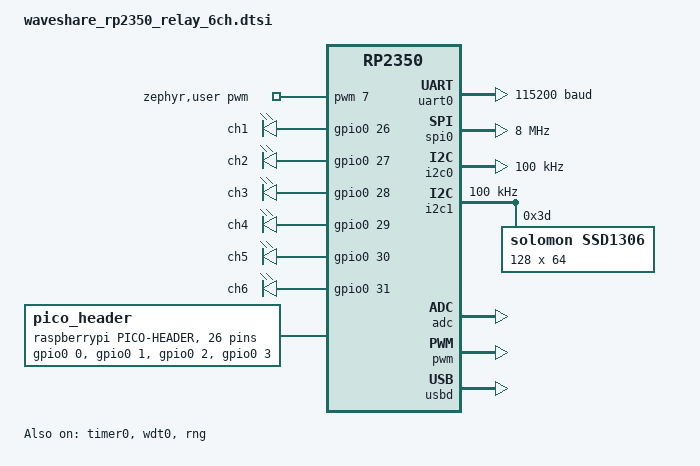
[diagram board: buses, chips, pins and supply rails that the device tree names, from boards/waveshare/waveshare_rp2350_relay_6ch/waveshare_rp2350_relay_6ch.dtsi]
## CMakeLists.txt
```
# SPDX-License-Identifier: Apache-2.0

cmake_minimum_required(VERSION 3.20.0)

list(APPEND BOARD_ROOT ${CMAKE_CURRENT_SOURCE_DIR})

find_package(Zephyr REQUIRED HINTS $ENV{ZEPHYR_BASE})
project(rp2350_relay_6ch VERSION 0.9.0)

find_package(Git QUIET)
set(RP2350_RELAY_6CH_GIT_COMMIT "unknown")
set(RP2350_RELAY_6CH_GIT_DIRTY false)
set(RP2350_RELAY_6CH_GIT_COMMIT_TIME "")
if(Git_FOUND)
  execute_process(
    COMMAND ${GIT_EXECUTABLE} rev-parse --short=12 HEAD
    WORKING_DIRECTORY ${CMAKE_CURRENT_SOURCE_DIR}
    OUTPUT_VARIABLE RP2350_RELAY_6CH_GIT_COMMIT
    OUTPUT_STRIP_TRAILING_WHITESPACE
    ERROR_QUIET
  )
  if(NOT RP2350_RELAY_6CH_GIT_COMMIT)
    set(RP2350_RELAY_6CH_GIT_COMMIT "unknown")
  endif()

  execute_process(
    COMMAND ${GIT_EXECUTABLE} status --porcelain
    WORKING_DIRECTORY ${CMAKE_CURRENT_SOURCE_DIR}
    OUTPUT_VARIABLE RP2350_RELAY_6CH_GIT_STATUS
    OUTPUT_STRIP_TRAILING_WHITESPACE
    ERROR_QUIET
  )
  if(RP2350_RELAY_6CH_GIT_STATUS)
    set(RP2350_RELAY_6CH_GIT_DIRTY true)
  endif()

  execute_process(
    COMMAND ${GIT_EXECUTABLE} show -s --format=%ct HEAD
    WORKING_DIRECTORY ${CMAKE_CURRENT_SOURCE_DIR}
    OUTPUT_VARIABLE RP2350_RELAY_6CH_GIT_COMMIT_TIME
    OUTPUT_STRIP_TRAILING_WHITESPACE
    ERROR_QUIET
  )
endif()

set(RP2350_RELAY_6CH_RESTORE_SOURCE_DATE_EPOCH false)
if(NOT DEFINED ENV{SOURCE_DATE_EPOCH} AND RP2350_RELAY_6CH_GIT_COMMIT_TIME)
  set(ENV{SOURCE_DATE_EPOCH} "${RP2350_RELAY_6CH_GIT_COMMIT_TIME}")
  set(RP2350_RELAY_6CH_RESTORE_SOURCE_DATE_EPOCH true)
endif()
set(RP2350_RELAY_6CH_RESTORE_TZ false)
if(DEFINED ENV{TZ})
  set(RP2350_RELAY_6CH_PREVIOUS_TZ "$ENV{TZ}")
  set(RP2350_RELAY_6CH_RESTORE_TZ true)
endif()
set(ENV{TZ} "Asia/Shanghai")
string(TIMESTAMP RP2350_RELAY_6CH_BUILD_TIMESTAMP "%Y-%m-%dT%H:%M:%S+08:00")
if(RP2350_RELAY_6CH_RESTORE_TZ)
  set(ENV{TZ} "${RP2350_RELAY_6CH_PREVIOUS_TZ}")
else()
  unset(ENV{TZ})
endif()
if(RP2350_RELAY_6CH_RESTORE_SOURCE_DATE_EPOCH)
  unset(ENV{SOURCE_DATE_EPOCH})
endif()
set(RP2350_RELAY_6CH_COMPILER
    "${CMAKE_C_COMPILER_ID} ${CMAKE_C_COMPILER_VERSION}")

configure_file(
  include/rp2350_relay_6ch/build_info.h.in
  ${CMAKE_CURRENT_BINARY_DIR}/generated/rp2350_relay_6ch/build_info.h
  @ONLY
)

target_include_directories(app PRIVATE
  include
  ${CMAKE_CURRENT_BINARY_DIR}/generated
)
target_sources(app PRIVATE src/main.c src/health.c src/relay.c src/relay_mgmt.c src/reboot.c src/indicator.c)
target_sources_ifdef(CONFIG_BOARD_WAVESHARE_RP2350_RELAY_6CH app PRIVATE src/waveshare_ws2812_pio.c)
target_sources_ifdef(CONFIG_RP2350_RELAY_6CH_WATCHDOG app PRIVATE src/watchdog_supervisor.c)
target_sources_ifdef(CONFIG_SHELL app PRIVATE src/relay_shell.c)
```

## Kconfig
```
# SPDX-License-Identifier: Apache-2.0

mainmenu "RP2350 Relay 6CH application"

config RP2350_RELAY_6CH_INDICATORS
	bool "Enable local RGB LED and buzzer status indicators"
	default y
	depends on LED_STRIP && PWM
	help
	  Enable controller-level local status indication using the board's
	  WS2812 RGB LED and passive PWM buzzer when those devices are present.

config RP2350_RELAY_6CH_BUZZER_FEEDBACK
	bool "Enable local bounded buzzer notifications"
	depends on RP2350_RELAY_6CH_INDICATORS
	default n
	help
	  Enable bounded audible notifications for boot-ready, rejected commands,
	  owner-lost faults, and reboot-pending transitions. Accepted commands,
	  normal heartbeat, idle-ready state, and routine relay toggles remain
	  silent by default.

config RP2350_RELAY_6CH_BUZZER_ACCEPTED_FEEDBACK
	bool "Enable accepted-command buzzer feedback"
	depends on RP2350_RELAY_6CH_BUZZER_FEEDBACK
	default n
	help
	  Enable one short beep for accepted commands. This is intended for
	  bench/debug configurations; normal lab and server-room builds should
	  leave accepted commands visual-only.

config RP2350_RELAY_6CH_DISPLAY
	bool "Enable optional OLED local status display"
	select DISPLAY if !ZTEST
	default n
	help
	  Enable the optional 128x64 SSD1306-compatible OLED local status
	  display when a zephyr,display device is present. Missing display
	  hardware is treated as an optional add-on absence, not a controller
	  fault.

config RP2350_RELAY_6CH_DISPLAY_ROTATED_180
	bool "Rotate the optional OLED local status display 180 degrees"
	depends on RP2350_RELAY_6CH_DISPLAY
	default n
	help
	  Rotate the optional OLED local status display 180 degrees for
	  installations where the OLED panel is mounted upside down.

config RP2350_RELAY_6CH_DISPLAY_REVERSED_RELAY_CELLS
	bool "Reverse optional OLED relay cell order"
	depends on RP2350_RELAY_6CH_DISPLAY
	default y if BOARD_WAVESHARE_RP2350_RELAY_6CH
	default n
	help
	  Render the optional OLED relay cells from CH6 to CH1 left-to-right.
	  This is useful for boards or enclosures whose physical relay labels
	  run in the opposite direction from the logical channel numbering.

config RP2350_RELAY_6CH_WATCHDOG
	bool "Enable runtime hardware watchdog supervisor"
	depends on WATCHDOG || ZTEST
	default y if WATCHDOG
	default y if ZTEST
	help
	  Enable a central runtime watchdog supervisor that starts after relay
	  GPIO and management RPC readiness, then feeds the hardware watchdog
	  only while fatal health gates remain clear.

config RP2350_RELAY_6CH_WATCHDOG_TIMEOUT_MS
	int "Runtime watchdog timeout in milliseconds"
	default 10000
	range 100 600000
	help
	  Hardware watchdog timeout used by the runtime supervisor.

config RP2350_RELAY_6CH_WATCHDOG_FEED_INTERVAL_MS
	int "Runtime watchdog feed interval in milliseconds"
	default 2000
	range 10 300000
	help
	  Period between supervisor feed checks. Keep this below the hardware
	  watchdog timeout with enough margin for normal firmware latency.

choice RP2350_RELAY_6CH_COMM_LOSS_POLICY
	prompt "Communication-loss relay safety policy"
	default RP2350_RELAY_6CH_COMM_LOSS_ENERGIZED_ONLY
	help
	  Select how firmware applies the communication-loss off-all timeout.

config RP2350_RELAY_6CH_COMM_LOSS_ENERGIZED_ONLY
	bool "Energized-only timeout"
	help
	  Arm or renew the timeout only while a relay is on or pulsing, and disarm
	  it when all relays are off.

config RP2350_RELAY_6CH_COMM_LOSS_NO_TIMEOUT
	bool "No communication-loss timeout"
	help
	  Leave relay state unchanged on host communication loss. Heartbeat remains
	  a liveness command only.

config RP2350_RELAY_6CH_COMM_LOSS_ALWAYS_ON_OWNER
	bool "Always-on owner timeout"
	help
	  Start the timeout at boot, renew it on heartbeat and relay-control
	  commands, and keep it armed even while all relays are off.

endchoice

config RP2350_RELAY_6CH_COMM_LOSS_TIMEOUT_MS
	int "Communication-loss timeout in milliseconds"
	default 5000
	range 1 600000
	help
	  Timeout used by communication-loss policies that force all relays off.
	  The standard product profile uses 5000 ms.

config RP2350_RELAY_6CH_COMM_LOSS_ALWAYS_ON_OWNER_REBOOT_ON_TIMEOUT
	bool "Reboot on always-on owner communication-loss timeout"
	depends on RP2350_RELAY_6CH_COMM_LOSS_ALWAYS_ON_OWNER && REBOOT
	default n
	help
	  After an always-on owner communication-loss timeout, force all relays
	  off, show reboot-pending local indication, and cold reboot the firmware
	  to recover the application and USB communication path.

config RP2350_RELAY_6CH_COMM_LOSS_REBOOT_DELAY_MS
	int "Always-on owner timeout reboot delay in milliseconds"
	default 60000
	range 0 600000
	help
	  Delay between an always-on owner communication-loss timeout all-off
	  safety action and the cold reboot used for unattended recovery.
	  Heartbeat or relay-control commands that restore ownership before this
	  delay expires cancel the pending reboot. This value is reported as 0
	  when reboot-on-timeout is disabled.

source "Kconfig.zephyr"
```

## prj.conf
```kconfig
# Relay GPIO, USB CDC ACM transport, and MCUmgr protocol configuration.
CONFIG_PRINTK=y
CONFIG_LOG=y
CONFIG_GPIO=y
CONFIG_PWM=y
CONFIG_LED_STRIP=y
CONFIG_RP2350_RELAY_6CH_DISPLAY=y
CONFIG_RP2350_RELAY_6CH_BUZZER_FEEDBACK=y
CONFIG_SERIAL=y
CONFIG_UART_LINE_CTRL=y
CONFIG_CONSOLE=y
CONFIG_UART_CONSOLE=y
CONFIG_SHELL=y
CONFIG_KERNEL_SHELL=y
CONFIG_SHELL_BACKEND_SERIAL=y
CONFIG_ZCBOR=y
CONFIG_NET_BUF=y
CONFIG_MCUMGR=y
CONFIG_MCUMGR_SMP_CBOR_MAX_MAIN_MAP_ENTRIES=28
CONFIG_MCUMGR_GRP_ENUM=y
CONFIG_MCUMGR_GRP_ENUM_DETAILS=y
CONFIG_MCUMGR_GRP_ENUM_DETAILS_NAME=y
CONFIG_USB_DEVICE_STACK_NEXT=y
CONFIG_CDC_ACM_SERIAL_INITIALIZE_AT_BOOT=y
# Standard Raspberry Pi Pico SDK CDC UART VID/PID for CDC ACM-only firmware.
# Application identity is provided by USB manufacturer, product, and serial strings.
CONFIG_CDC_ACM_SERIAL_VID=0x2E8A
CONFIG_CDC_ACM_SERIAL_PID=0x0009
CONFIG_CDC_ACM_SERIAL_MANUFACTURER_STRING="Waveshare Electronics"
CONFIG_CDC_ACM_SERIAL_PRODUCT_STRING="RP2350-Relay-6CH SMP CDC"
CONFIG_HWINFO=y
CONFIG_HWINFO_RPI_PICO_CHIP_ID=y
CONFIG_WATCHDOG=y
CONFIG_REBOOT=y
CONFIG_UART_MCUMGR=y
CONFIG_MCUMGR_TRANSPORT_UART=y
CONFIG_BASE64=y
CONFIG_CRC=y
```

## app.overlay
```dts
/ {
	chosen {
		zephyr,uart-mcumgr = &cdc_acm_uart0;
	};
};

&zephyr_udc0 {
	cdc_acm_uart0: cdc_acm_uart0 {
		compatible = "zephyr,cdc-acm-uart";
	};
};
```

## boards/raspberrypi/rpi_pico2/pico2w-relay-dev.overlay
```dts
/*
 * SPDX-License-Identifier: Apache-2.0
 *
 * Example Raspberry Pi Pico 2 / Pico 2 W DIY relay overlay.
 */

#include <freq.h>
#include <zephyr/dt-bindings/i2c/i2c.h>
#include <zephyr/dt-bindings/led/led.h>
#include <zephyr/dt-bindings/pinctrl/rpi-pico-rp2350a-pinctrl.h>
#include <zephyr/dt-bindings/pwm/pwm.h>

/ {
	chosen {
		zephyr,display = &ssd1306;
	};

	aliases {
		led-strip = &rgb_led;
	};

	zephyr,user {
		/* Passive buzzer fixture output: GP9 / PWM slice 4B. */
		pwms = <&pwm 9 PWM_USEC(1000) PWM_POLARITY_NORMAL>;
	};

	relays {
		compatible = "gpio-leds";

		ch1 {
			gpios = <&gpio0 2 GPIO_ACTIVE_HIGH>;
		};

		ch2 {
			gpios = <&gpio0 3 GPIO_ACTIVE_HIGH>;
		};

		ch3 {
			gpios = <&gpio0 4 GPIO_ACTIVE_HIGH>;
		};

		ch4 {
			gpios = <&gpio0 5 GPIO_ACTIVE_HIGH>;
		};

		ch5 {
			gpios = <&gpio0 6 GPIO_ACTIVE_HIGH>;
		};

		ch6 {
			gpios = <&gpio0 7 GPIO_ACTIVE_HIGH>;
		};
	};
};

&pinctrl {
	pwm_buzzer_default: pwm_buzzer_default {
		group1 {
			pinmux = <PWM_4B_P9>;
		};
	};

	ws2812_pio1_default: ws2812_pio1_default {
		group1 {
			pinmux = <PIO1_P8>;
		};
	};

	i2c1_display_default: i2c1_display_default {
		group1 {
			pinmux = <I2C1_SDA_P10>, <I2C1_SCL_P11>;
			input-enable;
			input-schmitt-enable;
		};
	};
};

&pwm {
	pinctrl-0 = <&pwm_buzzer_default>;
	pinctrl-names = "default";
	status = "okay";
};

&pio1 {
	status = "okay";

	pio1_ws2812 {
		compatible = "worldsemi,ws2812-rpi_pico-pio";
		pinctrl-0 = <&ws2812_pio1_default>;
		pinctrl-names = "default";
		bit-waveform = <3>, <3>, <4>;
		status = "okay";

		rgb_led: rgb_led {
			/* WS2812 RGB LED fixture data output: GP8 via PIO1. */
			gpios = <&gpio0 8 GPIO_ACTIVE_HIGH>;
			chain-length = <1>;
			color-mapping = <LED_COLOR_ID_GREEN LED_COLOR_ID_RED LED_COLOR_ID_BLUE>;
			reset-delay = <280>;
			frequency = <DT_FREQ_K(800)>;
			status = "okay";
		};
	};
};

&i2c1 {
	clock-frequency = <I2C_BITRATE_STANDARD>;
	pinctrl-0 = <&i2c1_display_default>;
	pinctrl-names = "default";
	status = "okay";

	ssd1306: ssd1306@3d {
		compatible = "solomon,ssd1306";
		reg = <0x3d>;
		width = <128>;
		height = <64>;
		segment-offset = <0>;
		page-offset = <0>;
		display-offset = <0>;
		multiplex-ratio = <63>;
		segment-remap;
		com-invdir;
		prechargep = <0x22>;
		softreset-on;
	};
};
```

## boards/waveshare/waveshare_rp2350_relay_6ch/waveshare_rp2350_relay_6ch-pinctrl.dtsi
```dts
/*
 * SPDX-License-Identifier: Apache-2.0
 */

#include <zephyr/dt-bindings/pinctrl/rpi-pico-rp2350b-pinctrl.h>

&pinctrl {
	uart0_default: uart0_default {
		group1 {
			pinmux = <UART0_TX_P0>;
		};

		group2 {
			pinmux = <UART0_RX_P1>;
			input-enable;
		};
	};

	uart1_default: uart1_default {
		group1 {
			pinmux = <UART1_TX_P24>;
		};

		group2 {
			pinmux = <UART1_RX_P25>;
			input-enable;
		};
	};

	i2c0_default: i2c0_default {
		group1 {
			pinmux = <I2C0_SDA_P4>, <I2C0_SCL_P5>;
			input-enable;
			input-schmitt-enable;
		};
	};

	i2c1_default: i2c1_default {
		group1 {
			pinmux = <I2C1_SDA_P10>, <I2C1_SCL_P11>;
			input-enable;
			input-schmitt-enable;
		};
	};

	spi0_default: spi0_default {
		group1 {
			pinmux = <SPI0_CSN_P17>, <SPI0_SCK_P18>, <SPI0_TX_P19>;
		};

		group2 {
			pinmux = <SPI0_RX_P16>;
			input-enable;
		};
	};

	pwm_buzzer_default: pwm_buzzer_default {
		group1 {
			pinmux = <PWM_3B_P23>;
		};
	};

	ws2812_pio1_default: ws2812_pio1_default {
		group1 {
			pinmux = <PIO1_P36>;
		};
	};

	adc_default: adc_default {
		group1 {
			pinmux = <ADC_CH0_P40>, <ADC_CH1_P41>, <ADC_CH2_P42>, <ADC_CH3_P43>,
				 <ADC_CH4_P44>, <ADC_CH5_P45>, <ADC_CH6_P46>, <ADC_CH7_P47>;
			input-enable;
		};
	};

	pio0_spi0_default: pio0_spi0_default {
		/* GPIO34 is used for chip select, not assigned to the PIO */
		group1 {
			pinmux = <PIO0_P35>;
		};
	};

	airoc_wifi_default: airoc_wifi_default {
		/* Control of GPIO33 is done through the Wi-Fi driver */
		group1 {
			pinmux = <PIO0_P33>;
			input-enable;
		};
	};

	airoc_wifi_host_wake: airoc_wifi_host_wake {
		/* Assign GPIO33 to SIO (GPIO) for use as an interrupt source */
		group1 {
			pinmux = <GPIO_P33>;
			input-enable;
		};
	};
};
```

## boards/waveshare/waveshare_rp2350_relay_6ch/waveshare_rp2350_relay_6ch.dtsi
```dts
/*
 * SPDX-License-Identifier: Apache-2.0
 *
 * This board definition follows Zephyr's Raspberry Pi Pico 2 W board as the
 * base reference, then changes the SoC include to RP2350B and maps the
 * Waveshare RP2350-Relay-6CH pin assignments.
 */

#include <freq.h>

#include <zephyr/dt-bindings/i2c/i2c.h>
#include <zephyr/dt-bindings/input/input-event-codes.h>
#include <zephyr/dt-bindings/led/led.h>
#include <zephyr/dt-bindings/pwm/pwm.h>

#include "waveshare_rp2350_relay_6ch-pinctrl.dtsi"

/ {
	chosen {
		zephyr,sram = &sram0;
		zephyr,flash = &flash0;
		zephyr,flash-controller = &qmi;
		zephyr,console = &uart0;
		zephyr,shell-uart = &uart0;
		zephyr,display = &ssd1306;
	};

	aliases {
		watchdog0 = &wdt0;
		led-strip = &rgb_led;
	};

	zephyr,user {
		pwms = <&pwm 7 PWM_USEC(1000) PWM_POLARITY_NORMAL>;
	};

	relays {
		compatible = "gpio-leds";

		ch1 {
			gpios = <&gpio0 26 GPIO_ACTIVE_HIGH>;
		};

		ch2 {
			gpios = <&gpio0 27 GPIO_ACTIVE_HIGH>;
		};

		ch3 {
			gpios = <&gpio0 28 GPIO_ACTIVE_HIGH>;
		};

		ch4 {
			gpios = <&gpio0 29 GPIO_ACTIVE_HIGH>;
		};

		ch5 {
			gpios = <&gpio0 30 GPIO_ACTIVE_HIGH>;
		};

		ch6 {
			gpios = <&gpio0 31 GPIO_ACTIVE_HIGH>;
		};
	};

	pico_header: connector {
		compatible = "raspberrypi,pico-header";
		#gpio-cells = <2>;
		gpio-map-mask = <0xffffffff 0xffffffc0>;
		gpio-map-pass-thru = <0 0x3f>;
		gpio-map = <0 0 &gpio0 0 0>,	/* GP0 */
			   <1 0 &gpio0 1 0>,	/* GP1 */
			   <2 0 &gpio0 2 0>,	/* GP2 */
			   <3 0 &gpio0 3 0>,	/* GP3 */
			   <4 0 &gpio0 4 0>,	/* GP4 */
			   <5 0 &gpio0 5 0>,	/* GP5 */
			   <6 0 &gpio0 6 0>,	/* GP6 */
			   <7 0 &gpio0 7 0>,	/* GP7 */
			   <8 0 &gpio0 8 0>,	/* GP8 */
			   <9 0 &gpio0 9 0>,	/* GP9 */
			   <10 0 &gpio0 10 0>,	/* GP10 */
			   <11 0 &gpio0 11 0>,	/* GP11 */
			   <12 0 &gpio0 12 0>,	/* GP12 */
			   <13 0 &gpio0 13 0>,	/* GP13 */
			   <14 0 &gpio0 14 0>,	/* GP14 */
			   <15 0 &gpio0 15 0>,	/* GP15 */
			   <16 0 &gpio0 16 0>,	/* GP16 */
			   <17 0 &gpio0 17 0>,	/* GP17 */
			   <18 0 &gpio0 18 0>,	/* GP18 */
			   <19 0 &gpio0 19 0>,	/* GP19 */
			   <20 0 &gpio0 20 0>,	/* GP20 */
			   <21 0 &gpio0 21 0>,	/* GP21 */
			   <22 0 &gpio0 22 0>,	/* GP22 */
			   <26 0 &gpio0_hi 8 0>,	/* GP40 / ADC0 */
			   <27 0 &gpio0_hi 9 0>,	/* GP41 / ADC1 */
			   <28 0 &gpio0_hi 10 0>;	/* GP42 / ADC2 */
	};
};

&flash0 {
	reg = <0x10000000 DT_SIZE_M(16)>;
};

&uart0 {
	current-speed = <115200>;
	pinctrl-0 = <&uart0_default>;
	pinctrl-names = "default";
	status = "okay";
};

&uart1 {
	current-speed = <115200>;
	pinctrl-0 = <&uart1_default>;
	pinctrl-names = "default";
	status = "disabled";
};

gpio0_lo: &gpio0 {
	status = "okay";
};

/*
 * gpio1 is a board-local label for RP2350B's high GPIO bank. For gpio0_hi,
 * offset N maps to physical GPIO number GP(32 + N).
 */
gpio1: &gpio0_hi {
	status = "okay";
};

&spi0 {
	clock-frequency = <DT_FREQ_M(8)>;
	pinctrl-0 = <&spi0_default>;
	pinctrl-names = "default";
};

&i2c0 {
	clock-frequency = <I2C_BITRATE_STANDARD>;
	pinctrl-0 = <&i2c0_default>;
	pinctrl-names = "default";
	status = "okay";
};

&i2c1 {
	clock-frequency = <I2C_BITRATE_STANDARD>;
	pinctrl-0 = <&i2c1_default>;
	pinctrl-names = "default";
	status = "okay";

	ssd1306: ssd1306@3d {
		compatible = "solomon,ssd1306";
		reg = <0x3d>;
		width = <128>;
		height = <64>;
		segment-offset = <0>;
		page-offset = <0>;
		display-offset = <0>;
		multiplex-ratio = <63>;
		segment-remap;
		com-invdir;
		prechargep = <0x22>;
		softreset-on;
	};
};

&adc {
	pinctrl-0 = <&adc_default>;
	pinctrl-names = "default";
	status = "okay";
};

&pwm {
	pinctrl-0 = <&pwm_buzzer_default>;
	pinctrl-names = "default";
	status = "okay";
};

&pio1 {
	status = "okay";

	pio1_ws2812 {
		compatible = "rp2350-relay-6ch,waveshare-ws2812-pio";
		pinctrl-0 = <&ws2812_pio1_default>;
		pinctrl-names = "default";
		bit-waveform = <3>, <3>, <4>;
		status = "okay";

		rgb_led: rgb_led {
			/* RGB_CTRL: GP36, gpio0_hi offset 4. */
			gpios = <&gpio0_hi 4 GPIO_ACTIVE_HIGH>;
			chain-length = <1>;
			color-mapping = <LED_COLOR_ID_RED LED_COLOR_ID_GREEN LED_COLOR_ID_BLUE>;
			reset-delay = <280>;
			frequency = <DT_FREQ_K(800)>;
			status = "okay";
		};
	};
};

&timer0 {
	status = "okay";
};

&wdt0 {
	status = "okay";
};

&rng {
	status = "okay";
};

zephyr_udc0: &usbd {
	status = "okay";
};

pico_spi: &spi0 {};

pico_spi0: &spi0 {};

pico_i2c: &i2c0 {};

pico_i2c0: &i2c0 {};

pico_i2c1: &i2c1 {};

pico_serial: &uart0 {};

pico_serial0: &uart0 {};
```

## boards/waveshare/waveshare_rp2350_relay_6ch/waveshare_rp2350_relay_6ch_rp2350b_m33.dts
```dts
/*
 * SPDX-License-Identifier: Apache-2.0
 */

/dts-v1/;

#include <raspberrypi/rpi_pico/rp2350b.dtsi>
#include <raspberrypi/rpi_pico/m33.dtsi>
#include "waveshare_rp2350_relay_6ch.dtsi"
```

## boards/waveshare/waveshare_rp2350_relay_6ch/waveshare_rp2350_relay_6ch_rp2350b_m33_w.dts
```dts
/*
 * SPDX-License-Identifier: Apache-2.0
 */

/dts-v1/;

#include <raspberrypi/rpi_pico/rp2350b.dtsi>
#include <raspberrypi/rpi_pico/m33.dtsi>
#include "waveshare_rp2350_relay_6ch.dtsi"

&pio0 {
	status = "okay";

	pio0_spi0: pio0_spi0 {
		compatible = "raspberrypi,pico-spi-pio";
		clocks = <&clocks RPI_PICO_CLKID_CLK_SYS>;
		#address-cells = <1>;
		#size-cells = <0>;
		cs-gpios = <&gpio0_hi 2 GPIO_ACTIVE_LOW>;	/* GP34 */
		clk-gpios = <&gpio0_hi 3 GPIO_ACTIVE_HIGH>;	/* GP35 */
		sio-gpios = <&gpio0_hi 1 GPIO_ACTIVE_HIGH>;	/* GP33 */
		pinctrl-0 = <&pio0_spi0_default>;
		pinctrl-names = "default";
		status = "okay";

		airoc-wifi@0 {
			compatible = "infineon,airoc-wifi";
			reg = <0>;
			wifi-reg-on-gpios = <&gpio0_hi 0 GPIO_ACTIVE_HIGH>;	/* GP32 */
			bus-select-gpios = <&gpio0_hi 1 GPIO_ACTIVE_HIGH>;	/* GP33 */
			wifi-host-wake-gpios = <&gpio0_hi 1 GPIO_ACTIVE_HIGH>;	/* GP33 */
			spi-max-frequency = <10000000>;
			spi-half-duplex;
			spi-data-irq-shared;
			pinctrl-0 = <&airoc_wifi_default>;
			pinctrl-1 = <&airoc_wifi_host_wake>;
			pinctrl-names = "default", "host_wake";
			status = "okay";

			cyw43_gpio: gpio {
				compatible = "infineon,cyw43-gpio";
				gpio-controller;
				#gpio-cells = <2>;
				ngpios = <3>;
			};
		};
	};
};
```

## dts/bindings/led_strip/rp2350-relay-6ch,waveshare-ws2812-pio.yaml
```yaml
# SPDX-License-Identifier: Apache-2.0

description: Waveshare RP2350-Relay-6CH WS2812 LED on RP2350B PIO1 GP36

compatible: "rp2350-relay-6ch,waveshare-ws2812-pio"

include: pinctrl-device.yaml

properties:
  bit-waveform:
    type: array
    required: true
    description: WS2812 PIO waveform timing counts for T0, T1, and T2.

child-binding:
  description: Waveshare onboard WS2812 RGB LED

  include: ws2812-gpio.yaml

  properties:
    gpios:
      required: true

    frequency:
      type: int
      required: true
```

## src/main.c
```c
/*
 * SPDX-License-Identifier: Apache-2.0
 */

#include <zephyr/kernel.h>
#include <zephyr/logging/log.h>
#include <zephyr/sys/reboot.h>

#include <rp2350_relay_6ch/health.h>
#include <rp2350_relay_6ch/indicator.h>
#include <rp2350_relay_6ch/relay.h>
#include <rp2350_relay_6ch/relay_mgmt.h>
#ifdef CONFIG_RP2350_RELAY_6CH_WATCHDOG
#include <rp2350_relay_6ch/watchdog_supervisor.h>
#endif

LOG_MODULE_REGISTER(rp2350_relay_6ch, LOG_LEVEL_INF);

#define STARTUP_REBOOT_DELAY_MS 1000U

static void handle_relay_init_failure(int ret)
{
	LOG_ERR("Relay initialization failed: %d", ret);
	health_record_relay_gpio_init_failed();
	indicator_init();
	indicator_publish_health_snapshot();
	k_sleep(K_MSEC(STARTUP_REBOOT_DELAY_MS));

#ifdef CONFIG_REBOOT
	sys_reboot(SYS_REBOOT_COLD);
#endif

	for (;;) {
		k_sleep(K_FOREVER);
	}
}

int main(void)
{
	int ret;

	health_init();

	ret = relay_init();

	if (ret < 0) {
		handle_relay_init_failure(ret);
	}

	health_set_relay_gpio_ready(true);
	indicator_init();
	relay_mgmt_publish_health();
#ifdef CONFIG_RP2350_RELAY_6CH_WATCHDOG
	watchdog_supervisor_start();
#endif
	indicator_publish_health_snapshot();
	LOG_INF("RP2350 relay controller baseline started on %s", CONFIG_BOARD_TARGET);

	return 0;
}
```

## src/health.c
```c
/*
 * SPDX-License-Identifier: Apache-2.0
 */

#include <stdbool.h>
#include <stdint.h>
#include <string.h>

#include <zephyr/kernel.h>
#include <zephyr/sys/util.h>

#include <rp2350_relay_6ch/health.h>

struct health_model {
	struct k_mutex lock;
	bool initialized;
	bool relay_gpio_ready;
	bool rpc_ready;
	bool ready_seen;
	uint32_t reasons;
	struct health_snapshot snapshot;
};

static struct health_model model;

static enum health_reason primary_reason(uint32_t reasons)
{
	static const enum health_reason priority[] = {
		HEALTH_REASON_COMM_REBOOT_PENDING,
		HEALTH_REASON_HOST_REBOOT_PENDING,
		HEALTH_REASON_REBOOT_FAILED,
		HEALTH_REASON_RELAY_GPIO_INIT_FAILED,
		HEALTH_REASON_RELAY_IO_FAILED,
		HEALTH_REASON_WATCHDOG_SUPERVISOR_FAILED,
		HEALTH_REASON_COMM_OWNER_TIMEOUT,
		HEALTH_REASON_RPC_NOT_READY,
		HEALTH_REASON_INDICATOR_DEGRADED,
	};

	for (size_t i = 0U; i < ARRAY_SIZE(priority); i++) {
		if ((reasons & priority[i]) != 0U) {
			return priority[i];
		}
	}

	return HEALTH_REASON_NONE;
}

static enum health_state derive_state_locked(uint32_t reasons)
{
	if ((reasons & (HEALTH_REASON_COMM_REBOOT_PENDING |
			HEALTH_REASON_HOST_REBOOT_PENDING)) != 0U) {
		return HEALTH_RECOVERY_PENDING;
	}

	if ((reasons & (HEALTH_REASON_RELAY_GPIO_INIT_FAILED |
			HEALTH_REASON_RELAY_IO_FAILED |
			HEALTH_REASON_REBOOT_FAILED |
			HEALTH_REASON_WATCHDOG_SUPERVISOR_FAILED)) != 0U) {
		return HEALTH_FAULT;
	}

	if ((reasons & (HEALTH_REASON_COMM_OWNER_TIMEOUT |
			HEALTH_REASON_INDICATOR_DEGRADED)) != 0U) {
		return HEALTH_DEGRADED;
	}

	if ((reasons & HEALTH_REASON_RPC_NOT_READY) != 0U && model.ready_seen) {
		return HEALTH_DEGRADED;
	}

	if (!model.relay_gpio_ready || !model.rpc_ready) {
		return HEALTH_BOOTING;
	}

	if ((model.snapshot.relay_state_mask | model.snapshot.pulse_mask) != 0U) {
		return HEALTH_RELAY_ACTIVE;
	}

	return HEALTH_NORMAL;
}

static void recompute_locked(void)
{
	uint32_t reasons = model.reasons;
	enum health_state previous = model.snapshot.state;

	if (!model.rpc_ready) {
		reasons |= HEALTH_REASON_RPC_NOT_READY;
	} else {
		reasons &= (uint32_t)~HEALTH_REASON_RPC_NOT_READY;
	}

	if (model.relay_gpio_ready && model.rpc_ready) {
		model.ready_seen = true;
	}

	model.snapshot.reasons = reasons;
	model.snapshot.primary_reason = primary_reason(reasons);
	model.snapshot.state = derive_state_locked(reasons);

	if (model.snapshot.state != previous) {
		model.snapshot.transitions++;
	}
}

static void reset_locked(void)
{
	model.relay_gpio_ready = false;
	model.rpc_ready = false;
	model.ready_seen = false;
	model.reasons = 0U;
	memset(&model.snapshot, 0, sizeof(model.snapshot));
	model.snapshot.state = HEALTH_BOOTING;
	recompute_locked();
	model.snapshot.transitions = 0U;
}

void health_init(void)
{
	if (!model.initialized) {
		k_mutex_init(&model.lock);
		model.initialized = true;
	}

	k_mutex_lock(&model.lock, K_FOREVER);
	reset_locked();
	k_mutex_unlock(&model.lock);
}

static void ensure_initialized(void)
{
	if (!model.initialized) {
		health_init();
	}
}

void health_set_relay_gpio_ready(bool ready)
{
	ensure_initialized();
	k_mutex_lock(&model.lock, K_FOREVER);
	model.relay_gpio_ready = ready;
	recompute_locked();
	k_mutex_unlock(&model.lock);
}

void health_set_rpc_ready(bool ready)
{
	ensure_initialized();
	k_mutex_lock(&model.lock, K_FOREVER);
	model.rpc_ready = ready;
	recompute_locked();
	k_mutex_unlock(&model.lock);
}

void health_set_relay_state(uint8_t state_mask, uint8_t pulse_mask)
{
	ensure_initialized();
	k_mutex_lock(&model.lock, K_FOREVER);
	model.snapshot.relay_state_mask = state_mask;
	model.snapshot.pulse_mask = pulse_mask;
	recompute_locked();
	k_mutex_unlock(&model.lock);
}

void health_set_comm_owner_timed_out(bool timed_out)
{
	ensure_initialized();
	k_mutex_lock(&model.lock, K_FOREVER);
	if (timed_out) {
		model.reasons |= HEALTH_REASON_COMM_OWNER_TIMEOUT;
	} else {
		model.reasons &= (uint32_t)~HEALTH_REASON_COMM_OWNER_TIMEOUT;
	}
	recompute_locked();
	k_mutex_unlock(&model.lock);
}

void health_set_comm_reboot_pending(bool pending)
{
	ensure_initialized();
	k_mutex_lock(&model.lock, K_FOREVER);
	if (pending) {
		model.reasons |= HEALTH_REASON_COMM_REBOOT_PENDING;
	} else {
		model.reasons &= (uint32_t)~HEALTH_REASON_COMM_REBOOT_PENDING;
	}
	recompute_locked();
	k_mutex_unlock(&model.lock);
}

void health_set_host_reboot_pending(bool pending)
{
	ensure_initialized();
	k_mutex_lock(&model.lock, K_FOREVER);
	if (pending) {
		model.reasons |= HEALTH_REASON_HOST_REBOOT_PENDING;
	} else {
		model.reasons &= (uint32_t)~HEALTH_REASON_HOST_REBOOT_PENDING;
	}
	recompute_locked();
	k_mutex_unlock(&model.lock);
}

void health_set_indicator_degraded(bool degraded)
{
	ensure_initialized();
	k_mutex_lock(&model.lock, K_FOREVER);
	if (degraded) {
		model.reasons |= HEALTH_REASON_INDICATOR_DEGRADED;
	} else {
		model.reasons &= (uint32_t)~HEALTH_REASON_INDICATOR_DEGRADED;
	}
	recompute_locked();
	k_mutex_unlock(&model.lock);
}

void health_record_relay_gpio_init_failed(void)
{
	ensure_initialized();
	k_mutex_lock(&model.lock, K_FOREVER);
	model.reasons |= HEALTH_REASON_RELAY_GPIO_INIT_FAILED;
	recompute_locked();
	k_mutex_unlock(&model.lock);
}

void health_record_relay_io_error(void)
{
	ensure_initialized();
	k_mutex_lock(&model.lock, K_FOREVER);
	model.reasons |= HEALTH_REASON_RELAY_IO_FAILED;
	recompute_locked();
	k_mutex_unlock(&model.lock);
}

void health_record_reboot_failed(void)
{
	ensure_initialized();
	k_mutex_lock(&model.lock, K_FOREVER);
	model.reasons |= HEALTH_REASON_REBOOT_FAILED;
	model.reasons &= (uint32_t)~(HEALTH_REASON_HOST_REBOOT_PENDING |
				     HEALTH_REASON_COMM_REBOOT_PENDING);
	recompute_locked();
	k_mutex_unlock(&model.lock);
}

void health_record_watchdog_supervisor_failed(void)
{
	ensure_initialized();
	k_mutex_lock(&model.lock, K_FOREVER);
	model.reasons |= HEALTH_REASON_WATCHDOG_SUPERVISOR_FAILED;
	recompute_locked();
	k_mutex_unlock(&model.lock);
}

void health_snapshot(struct health_snapshot *snapshot)
{
	if (snapshot == NULL) {
		return;
	}

	ensure_initialized();
	k_mutex_lock(&model.lock, K_FOREVER);
	*snapshot = model.snapshot;
	k_mutex_unlock(&model.lock);
}

const char *health_state_name(enum health_state state)
{
	switch (state) {
	case HEALTH_BOOTING:
		return "booting";
	case HEALTH_NORMAL:
		return "normal";
	case HEALTH_RELAY_ACTIVE:
		return "relay_active";
	case HEALTH_DEGRADED:
		return "degraded";
	case HEALTH_FAULT:
		return "fault";
	case HEALTH_RECOVERY_PENDING:
		return "recovery_pending";
	default:
		return "unknown";
	}
}

const char *health_reason_name(enum health_reason reason)
{
	switch (reason) {
	case HEALTH_REASON_NONE:
		return "none";
	case HEALTH_REASON_RELAY_GPIO_INIT_FAILED:
		return "relay_gpio_init_failed";
	case HEALTH_REASON_RELAY_IO_FAILED:
		return "relay_io_failed";
	case HEALTH_REASON_RPC_NOT_READY:
		return "rpc_not_ready";
	case HEALTH_REASON_COMM_OWNER_TIMEOUT:
		return "comm_owner_timeout";
	case HEALTH_REASON_COMM_REBOOT_PENDING:
		return "comm_reboot_pending";
	case HEALTH_REASON_INDICATOR_DEGRADED:
		return "indicator_degraded";
	case HEALTH_REASON_HOST_REBOOT_PENDING:
		return "host_reboot_pending";
	case HEALTH_REASON_REBOOT_FAILED:
		return "reboot_failed";
	case HEALTH_REASON_WATCHDOG_SUPERVISOR_FAILED:
		return "watchdog_supervisor_failed";
	default:
		return "unknown";
	}
}

#ifdef CONFIG_ZTEST
void health_test_reset(void)
{
	health_init();
}
#endif
```

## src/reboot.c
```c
/*
 * SPDX-License-Identifier: Apache-2.0
 */

#include <errno.h>

#include <zephyr/device.h>
#include <zephyr/devicetree.h>
#include <zephyr/kernel.h>
#include <zephyr/logging/log.h>
#include <zephyr/sys/util.h>

#ifdef CONFIG_USB_DEVICE_STACK_NEXT
#include <zephyr/drivers/usb/udc.h>
#endif

#if defined(CONFIG_SOC_FAMILY_RPI_PICO) && __has_include(<pico/bootrom.h>)
#include <pico/bootrom.h>
#define REBOOT_BOOTSEL_AVAILABLE 1
#else
#define REBOOT_BOOTSEL_AVAILABLE 0
#endif

#include <rp2350_relay_6ch/reboot.h>
#ifdef CONFIG_ZTEST
#include <rp2350_relay_6ch_test/reboot.h>
#endif

LOG_MODULE_REGISTER(rp2350_reboot, LOG_LEVEL_INF);

#define REBOOT_USB_DISCONNECT_SETTLE_MS 100

#if defined(CONFIG_USB_DEVICE_STACK_NEXT) && \
	DT_NODE_HAS_STATUS(DT_NODELABEL(zephyr_udc0), okay)
#define REBOOT_USB_DISCONNECT_AVAILABLE 1
#else
#define REBOOT_USB_DISCONNECT_AVAILABLE 0
#endif

#ifdef CONFIG_ZTEST
static int test_usb_disconnect_result;
static unsigned int test_reboot_sequence;
static unsigned int test_usb_disconnect_attempts;
static unsigned int test_usb_disconnect_settles;
static unsigned int test_usb_disconnect_order;
static unsigned int test_reboot_order;
static unsigned int test_bootsel_order;
#endif

static int reboot_disconnect_usb(void)
{
#ifdef CONFIG_ZTEST
	test_usb_disconnect_attempts++;
	test_usb_disconnect_order = ++test_reboot_sequence;
	return test_usb_disconnect_result;
#elif REBOOT_USB_DISCONNECT_AVAILABLE
	const struct device *udc = DEVICE_DT_GET(DT_NODELABEL(zephyr_udc0));
	int ret;

	if (!device_is_ready(udc)) {
		LOG_WRN("USB device controller is not ready before reboot");
		return -ENODEV;
	}

	ret = udc_disable(udc);
	if (ret == 0 || ret == -EALREADY) {
		LOG_INF("USB device controller detached before reboot");
		return 0;
	}

	LOG_WRN("USB device controller detach failed before reboot: %d", ret);
	return ret;
#else
	LOG_DBG("USB device controller detach is not available before reboot");
	return -ENOTSUP;
#endif
}

void reboot_usb_disconnect_and_settle(void)
{
	(void)reboot_disconnect_usb();
#ifdef CONFIG_ZTEST
	test_usb_disconnect_settles++;
#else
	k_msleep(REBOOT_USB_DISCONNECT_SETTLE_MS);
#endif
}

void reboot_enter_bootsel(void)
{
#ifdef CONFIG_ZTEST
	reboot_test_record_bootsel();
#elif REBOOT_BOOTSEL_AVAILABLE
	reset_usb_boot(0, 0);
	CODE_UNREACHABLE;
#else
	LOG_WRN("RP2350 ROM BOOTSEL entry is not available on this target");
#endif
}

#ifdef CONFIG_ZTEST
void reboot_test_reset(void)
{
	test_usb_disconnect_result = 0;
	test_reboot_sequence = 0U;
	test_usb_disconnect_attempts = 0U;
	test_usb_disconnect_settles = 0U;
	test_usb_disconnect_order = 0U;
	test_reboot_order = 0U;
	test_bootsel_order = 0U;
}

void reboot_test_force_usb_disconnect_result(int result)
{
	test_usb_disconnect_result = result;
}

void reboot_test_record_reboot(void)
{
	test_reboot_order = ++test_reboot_sequence;
}

void reboot_test_record_bootsel(void)
{
	test_bootsel_order = ++test_reboot_sequence;
}

unsigned int reboot_test_next_sequence(void)
{
	return ++test_reboot_sequence;
}

unsigned int reboot_test_usb_disconnect_attempts(void)
{
	return test_usb_disconnect_attempts;
}

unsigned int reboot_test_usb_disconnect_settles(void)
{
	return test_usb_disconnect_settles;
}

unsigned int reboot_test_usb_disconnect_order(void)
{
	return test_usb_disconnect_order;
}

unsigned int reboot_test_reboot_order(void)
{
	return test_reboot_order;
}

unsigned int reboot_test_bootsel_order(void)
{
	return test_bootsel_order;
}
#endif
```

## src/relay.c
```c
/*
 * SPDX-License-Identifier: Apache-2.0
 */

#include <stdbool.h>
#include <stdint.h>

#include <zephyr/devicetree.h>
#include <zephyr/drivers/gpio.h>
#include <zephyr/kernel.h>
#include <zephyr/logging/log.h>
#include <zephyr/sys/reboot.h>
#include <zephyr/sys/util.h>

#include <rp2350_relay_6ch/health.h>
#include <rp2350_relay_6ch/indicator.h>
#include <rp2350_relay_6ch/relay.h>
#include <rp2350_relay_6ch/reboot.h>
#ifdef CONFIG_ZTEST
#include <rp2350_relay_6ch_test/reboot.h>
#endif

LOG_MODULE_REGISTER(rp2350_relay, LOG_LEVEL_INF);

#define RELAYS_NODE DT_PATH(relays)
#ifdef CONFIG_ZTEST
#define COMM_LOSS_REBOOT_PENDING_INDICATION_MS 40U
#else
#define COMM_LOSS_REBOOT_PENDING_INDICATION_MS 10000U
#endif

BUILD_ASSERT(DT_NODE_EXISTS(RELAYS_NODE), "Missing /relays devicetree node");
BUILD_ASSERT(DT_CHILD_NUM(RELAYS_NODE) == RP2350_RELAY_6CH_CHANNEL_COUNT,
	     "/relays must define exactly six relay channel child nodes");

static const struct gpio_dt_spec relays[] = {
	GPIO_DT_SPEC_GET(DT_CHILD(RELAYS_NODE, ch1), gpios),
	GPIO_DT_SPEC_GET(DT_CHILD(RELAYS_NODE, ch2), gpios),
	GPIO_DT_SPEC_GET(DT_CHILD(RELAYS_NODE, ch3), gpios),
	GPIO_DT_SPEC_GET(DT_CHILD(RELAYS_NODE, ch4), gpios),
	GPIO_DT_SPEC_GET(DT_CHILD(RELAYS_NODE, ch5), gpios),
	GPIO_DT_SPEC_GET(DT_CHILD(RELAYS_NODE, ch6), gpios),
};

static struct k_mutex relay_lock;
static uint8_t relay_state_mask;
static uint8_t relay_pulse_mask;
static bool comm_loss_armed;
static bool comm_loss_reboot_scheduled;
static bool comm_loss_reboot_pending_indication_scheduled;
#ifdef CONFIG_ZTEST
static int comm_loss_test_reboot_schedule_result = 1;
static bool comm_loss_test_reboot_return;
static int test_next_off_all_result;
#endif

struct relay_pulse_work {
	struct k_work_delayable work;
	uint8_t channel;
	uint32_t duration_ms;
};

static void pulse_expired(struct k_work *work);
static void comm_loss_expired(struct k_work *work);
static void comm_loss_reboot_pending_indication_expired(struct k_work *work);
static void comm_loss_reboot_expired(struct k_work *work);

static struct relay_pulse_work relay_pulses[] = {
	{ .channel = 0U },
	{ .channel = 1U },
	{ .channel = 2U },
	{ .channel = 3U },
	{ .channel = 4U },
	{ .channel = 5U },
};

static K_WORK_DELAYABLE_DEFINE(comm_loss_work, comm_loss_expired);
static K_WORK_DELAYABLE_DEFINE(comm_loss_reboot_pending_indication_work,
			       comm_loss_reboot_pending_indication_expired);
static K_WORK_DELAYABLE_DEFINE(comm_loss_reboot_work, comm_loss_reboot_expired);

static bool channel_valid(uint8_t channel)
{
	return channel < ARRAY_SIZE(relays);
}

static void publish_indicator_state(
	uint8_t state_mask, uint8_t pulse_mask,
	const struct indicator_pulse_timing pulse_timing[RP2350_RELAY_6CH_CHANNEL_COUNT])
{
	health_set_relay_state(state_mask, pulse_mask);
	indicator_publish_health_snapshot();

	if (pulse_timing == NULL) {
		return;
	}

	indicator_set_relay_timed_state(state_mask, pulse_mask, pulse_timing);
}

static void publish_health_snapshot(void)
{
	indicator_publish_health_snapshot();
}

static void snapshot_pulse_timing_locked(
	uint8_t pulse_mask,
	struct indicator_pulse_timing pulse_timing[RP2350_RELAY_6CH_CHANNEL_COUNT])
{
	for (size_t i = 0; i < ARRAY_SIZE(relay_pulses); i++) {
		if ((pulse_mask & BIT(i)) == 0U) {
			pulse_timing[i].duration_ms = 0U;
			pulse_timing[i].remaining_ms = 0U;
			continue;
		}

		pulse_timing[i].duration_ms = relay_pulses[i].duration_ms;
		pulse_timing[i].remaining_ms =
			k_ticks_to_ms_ceil32(
				k_work_delayable_remaining_get(&relay_pulses[i].work));
	}
}

static int apply_state_locked(uint8_t state_mask)
{
	for (size_t i = 0; i < ARRAY_SIZE(relays); i++) {
		const bool on = (state_mask & BIT(i)) != 0U;
		int ret = gpio_pin_set_dt(&relays[i], on ? 1 : 0);

		if (ret < 0) {
			LOG_ERR("Failed to set relay %u: %d", (unsigned int)i + 1U, ret);
			health_record_relay_io_error();
			return ret;
		}
	}

	relay_state_mask = state_mask & BIT_MASK(ARRAY_SIZE(relays));
	return 0;
}

static bool comm_loss_timeout_enabled(void)
{
	return !IS_ENABLED(CONFIG_RP2350_RELAY_6CH_COMM_LOSS_NO_TIMEOUT);
}

static bool comm_loss_should_arm_locked(void)
{
	if (!comm_loss_timeout_enabled()) {
		return false;
	}

	if (IS_ENABLED(CONFIG_RP2350_RELAY_6CH_COMM_LOSS_ALWAYS_ON_OWNER)) {
		return true;
	}

	return (relay_state_mask != 0U) || (relay_pulse_mask != 0U);
}

static void comm_loss_schedule_locked(void)
{
	if (!comm_loss_should_arm_locked()) {
		comm_loss_armed = false;
		(void)k_work_cancel_delayable(&comm_loss_work);
		return;
	}

	comm_loss_armed = true;
	(void)k_work_reschedule(
		&comm_loss_work, K_MSEC(CONFIG_RP2350_RELAY_6CH_COMM_LOSS_TIMEOUT_MS));
}

static void comm_loss_disarm_if_idle_locked(void)
{
	if (IS_ENABLED(CONFIG_RP2350_RELAY_6CH_COMM_LOSS_ENERGIZED_ONLY) &&
	    relay_state_mask == 0U && relay_pulse_mask == 0U) {
		comm_loss_armed = false;
		(void)k_work_cancel_delayable(&comm_loss_work);
	}
}

static bool comm_loss_cancel_reboot_locked(void)
{
	bool was_scheduled = comm_loss_reboot_scheduled;

	comm_loss_reboot_scheduled = false;
	comm_loss_reboot_pending_indication_scheduled = false;
	(void)k_work_cancel_delayable(&comm_loss_reboot_pending_indication_work);
	(void)k_work_cancel_delayable(&comm_loss_reboot_work);

	return was_scheduled;
}

static void comm_loss_schedule_reboot_pending_indication(void)
{
	uint32_t delay_ms = relay_comm_loss_reboot_delay_ms();

	if (delay_ms <= COMM_LOSS_REBOOT_PENDING_INDICATION_MS) {
		health_set_comm_reboot_pending(true);
		publish_health_snapshot();
		return;
	}

	(void)k_work_schedule(&comm_loss_reboot_pending_indication_work,
			      K_MSEC(delay_ms -
				     COMM_LOSS_REBOOT_PENDING_INDICATION_MS));
}

static void cancel_pulses_locked(uint8_t pulse_mask)
{
	for (size_t i = 0; i < ARRAY_SIZE(relay_pulses); i++) {
		if ((pulse_mask & BIT(i)) != 0U) {
			(void)k_work_cancel_delayable(&relay_pulses[i].work);
			relay_pulses[i].duration_ms = 0U;
		}
	}

	relay_pulse_mask &= (uint8_t)~pulse_mask;
}

static int set_channel_locked(uint8_t channel, bool on)
{
	int ret;
	uint8_t next_state = relay_state_mask;

	if (on) {
		next_state |= BIT(channel);
	} else {
		next_state &= (uint8_t)~BIT(channel);
	}

	ret = gpio_pin_set_dt(&relays[channel], on ? 1 : 0);
	if (ret == 0) {
		relay_state_mask = next_state;
	} else {
		LOG_ERR("Failed to set relay %u: %d", (unsigned int)channel + 1U, ret);
		health_record_relay_io_error();
	}

	return ret;
}

static void pulse_expired(struct k_work *work)
{
	struct k_work_delayable *dwork = k_work_delayable_from_work(work);
	struct relay_pulse_work *pulse =
		CONTAINER_OF(dwork, struct relay_pulse_work, work);
	uint8_t state_mask = 0U;
	uint8_t pulse_mask = 0U;
	struct indicator_pulse_timing pulse_timing[RP2350_RELAY_6CH_CHANNEL_COUNT];
	bool publish = false;
	int ret;

	k_mutex_lock(&relay_lock, K_FOREVER);
	if ((relay_pulse_mask & BIT(pulse->channel)) == 0U) {
		k_mutex_unlock(&relay_lock);
		return;
	}

	relay_pulse_mask &= (uint8_t)~BIT(pulse->channel);
	pulse->duration_ms = 0U;
	ret = set_channel_locked(pulse->channel, false);
	if (ret == 0) {
		state_mask = relay_state_mask;
		pulse_mask = relay_pulse_mask;
		snapshot_pulse_timing_locked(pulse_mask, pulse_timing);
		comm_loss_disarm_if_idle_locked();
		publish = true;
	}
	k_mutex_unlock(&relay_lock);

	if (publish) {
		publish_indicator_state(state_mask, pulse_mask, pulse_timing);
	}

	if (ret < 0) {
		LOG_ERR("Failed to end relay %u pulse: %d",
			(unsigned int)pulse->channel + 1U, ret);
	}
}

static void comm_loss_expired(struct k_work *work)
{
	uint8_t state_mask = 0U;
	uint8_t pulse_mask = 0U;
	struct indicator_pulse_timing pulse_timing[RP2350_RELAY_6CH_CHANNEL_COUNT];
	bool publish = false;
	bool schedule_reboot = false;
	int ret = 0;

	ARG_UNUSED(work);

	k_mutex_lock(&relay_lock, K_FOREVER);
	if (!comm_loss_armed) {
		k_mutex_unlock(&relay_lock);
		return;
	}

	cancel_pulses_locked(BIT_MASK(ARRAY_SIZE(relay_pulses)));
	ret = apply_state_locked(0U);
	if (ret == 0) {
		state_mask = relay_state_mask;
		pulse_mask = relay_pulse_mask;
		snapshot_pulse_timing_locked(pulse_mask, pulse_timing);
		health_set_comm_owner_timed_out(true);
		if (IS_ENABLED(CONFIG_RP2350_RELAY_6CH_COMM_LOSS_ALWAYS_ON_OWNER)) {
			if (relay_comm_loss_reboot_on_timeout()) {
				comm_loss_armed = false;
				comm_loss_reboot_scheduled = true;
				comm_loss_reboot_pending_indication_scheduled = true;
				schedule_reboot = true;
			} else {
				comm_loss_schedule_locked();
			}
		} else {
			comm_loss_armed = false;
		}
		publish = true;
	}
	k_mutex_unlock(&relay_lock);

	if (publish) {
		publish_indicator_state(state_mask, pulse_mask, pulse_timing);
	}

	if (schedule_reboot) {
		int schedule_ret;

#ifdef CONFIG_ZTEST
		schedule_ret = comm_loss_test_reboot_schedule_result;
		comm_loss_test_reboot_schedule_result = 1;
		if (schedule_ret >= 0) {
			schedule_ret = k_work_schedule(
				&comm_loss_reboot_work,
				K_MSEC(CONFIG_RP2350_RELAY_6CH_COMM_LOSS_REBOOT_DELAY_MS));
		}
#else
		schedule_ret = k_work_schedule(
			&comm_loss_reboot_work,
			K_MSEC(CONFIG_RP2350_RELAY_6CH_COMM_LOSS_REBOOT_DELAY_MS));
#endif
		if (schedule_ret < 0) {
			k_mutex_lock(&relay_lock, K_FOREVER);
			comm_loss_reboot_scheduled = false;
			comm_loss_reboot_pending_indication_scheduled = false;
			(void)k_work_cancel_delayable(
				&comm_loss_reboot_pending_indication_work);
			health_record_reboot_failed();
			k_mutex_unlock(&relay_lock);
			publish_health_snapshot();
		} else {
			comm_loss_schedule_reboot_pending_indication();
		}
	}

	if (ret < 0) {
		LOG_ERR("Communication-loss off-all failed: %d", ret);
	}
}

static void comm_loss_reboot_pending_indication_expired(struct k_work *work)
{
	bool publish = false;

	ARG_UNUSED(work);

	k_mutex_lock(&relay_lock, K_FOREVER);
	if (!comm_loss_reboot_pending_indication_scheduled ||
	    !comm_loss_reboot_scheduled) {
		k_mutex_unlock(&relay_lock);
		return;
	}

	comm_loss_reboot_pending_indication_scheduled = false;
	health_set_comm_reboot_pending(true);
	publish = true;
	k_mutex_unlock(&relay_lock);

	if (publish) {
		publish_health_snapshot();
	}
}

static void comm_loss_reboot_expired(struct k_work *work)
{
	ARG_UNUSED(work);

#ifdef CONFIG_ZTEST
	reboot_usb_disconnect_and_settle();
	if (!comm_loss_test_reboot_return) {
		return;
	}
	reboot_test_record_reboot();
#elif defined(CONFIG_REBOOT)
	reboot_usb_disconnect_and_settle();
	sys_reboot(SYS_REBOOT_COLD);
#else
	return;
#endif
	health_record_reboot_failed();
	publish_health_snapshot();
}

int relay_init(void)
{
	k_mutex_init(&relay_lock);

	for (size_t i = 0; i < ARRAY_SIZE(relay_pulses); i++) {
		k_work_init_delayable(&relay_pulses[i].work, pulse_expired);
	}

	for (size_t i = 0; i < ARRAY_SIZE(relays); i++) {
		int ret;

		if (!gpio_is_ready_dt(&relays[i])) {
			LOG_ERR("Relay %u GPIO device is not ready", (unsigned int)i + 1U);
			health_record_relay_gpio_init_failed();
			return -ENODEV;
		}

		ret = gpio_pin_configure_dt(&relays[i], GPIO_OUTPUT_INACTIVE);
		if (ret < 0) {
			LOG_ERR("Failed to configure relay %u GPIO: %d",
				(unsigned int)i + 1U, ret);
			health_record_relay_gpio_init_failed();
			return ret;
		}
	}

	relay_state_mask = 0U;
	relay_pulse_mask = 0U;
	comm_loss_armed = false;
	comm_loss_reboot_scheduled = false;
	comm_loss_reboot_pending_indication_scheduled = false;
	(void)k_work_cancel_delayable(&comm_loss_work);
	(void)k_work_cancel_delayable(&comm_loss_reboot_pending_indication_work);
	(void)k_work_cancel_delayable(&comm_loss_reboot_work);
	health_set_comm_owner_timed_out(false);
	health_set_comm_reboot_pending(false);
	if (IS_ENABLED(CONFIG_RP2350_RELAY_6CH_COMM_LOSS_ALWAYS_ON_OWNER)) {
		k_mutex_lock(&relay_lock, K_FOREVER);
		comm_loss_schedule_locked();
		k_mutex_unlock(&relay_lock);
	}
	publish_indicator_state(relay_state_mask, relay_pulse_mask, NULL);
	LOG_INF("Initialized %u relays off", (unsigned int)ARRAY_SIZE(relays));

	return 0;
}

int relay_count(void)
{
	return ARRAY_SIZE(relays);
}

int relay_get(uint8_t channel, bool *on)
{
	if (on == NULL) {
		return -EINVAL;
	}

	if (!channel_valid(channel)) {
		return -EINVAL;
	}

	k_mutex_lock(&relay_lock, K_FOREVER);
	*on = (relay_state_mask & BIT(channel)) != 0U;
	k_mutex_unlock(&relay_lock);

	return 0;
}

int relay_get_all(uint8_t *state_mask)
{
	if (state_mask == NULL) {
		return -EINVAL;
	}

	k_mutex_lock(&relay_lock, K_FOREVER);
	*state_mask = relay_state_mask;
	k_mutex_unlock(&relay_lock);

	return 0;
}

int relay_is_pulsing(uint8_t channel, bool *pulsing)
{
	if (pulsing == NULL) {
		return -EINVAL;
	}

	if (!channel_valid(channel)) {
		return -EINVAL;
	}

	k_mutex_lock(&relay_lock, K_FOREVER);
	*pulsing = (relay_pulse_mask & BIT(channel)) != 0U;
	k_mutex_unlock(&relay_lock);

	return 0;
}

int relay_set(uint8_t channel, bool on)
{
	uint8_t state_mask = 0U;
	uint8_t pulse_mask = 0U;
	struct indicator_pulse_timing pulse_timing[RP2350_RELAY_6CH_CHANNEL_COUNT];
	bool reboot_canceled = false;
	int ret;

	if (!channel_valid(channel)) {
		return -EINVAL;
	}

	k_mutex_lock(&relay_lock, K_FOREVER);
	cancel_pulses_locked(BIT(channel));
	ret = set_channel_locked(channel, on);
	if (ret == 0) {
		state_mask = relay_state_mask;
		pulse_mask = relay_pulse_mask;
		snapshot_pulse_timing_locked(pulse_mask, pulse_timing);
		reboot_canceled = comm_loss_cancel_reboot_locked();
		health_set_comm_owner_timed_out(false);
		if (reboot_canceled) {
			health_set_comm_reboot_pending(false);
		}
		comm_loss_schedule_locked();
	}
	k_mutex_unlock(&relay_lock);

	if (ret == 0) {
		publish_indicator_state(state_mask, pulse_mask, pulse_timing);
	}

	return ret;
}

int relay_set_all(uint8_t state_mask)
{
	uint8_t next_state_mask = 0U;
	uint8_t pulse_mask = 0U;
	struct indicator_pulse_timing pulse_timing[RP2350_RELAY_6CH_CHANNEL_COUNT];
	bool reboot_canceled = false;
	int ret;

	if ((state_mask & ~BIT_MASK(ARRAY_SIZE(relays))) != 0U) {
		return -EINVAL;
	}

	k_mutex_lock(&relay_lock, K_FOREVER);
	cancel_pulses_locked(BIT_MASK(ARRAY_SIZE(relays)));
	ret = apply_state_locked(state_mask);
	if (ret == 0) {
		next_state_mask = relay_state_mask;
		pulse_mask = relay_pulse_mask;
		snapshot_pulse_timing_locked(pulse_mask, pulse_timing);
		reboot_canceled = comm_loss_cancel_reboot_locked();
		health_set_comm_owner_timed_out(false);
		if (reboot_canceled) {
			health_set_comm_reboot_pending(false);
		}
		comm_loss_schedule_locked();
	}
	k_mutex_unlock(&relay_lock);

	if (ret == 0) {
		publish_indicator_state(next_state_mask, pulse_mask, pulse_timing);
	}

	return ret;
}

int relay_off_all(void)
{
#ifdef CONFIG_ZTEST
	if (test_next_off_all_result < 0) {
		int ret = test_next_off_all_result;

		test_next_off_all_result = 0;
		health_record_relay_io_error();
		return ret;
	}
#endif
	return relay_set_all(0U);
}

int relay_pulse(uint8_t channel, uint32_t duration_ms)
{
	uint8_t state_mask = 0U;
	uint8_t pulse_mask = 0U;
	struct indicator_pulse_timing pulse_timing[RP2350_RELAY_6CH_CHANNEL_COUNT];
	bool reboot_canceled = false;
	int ret;

	if (!channel_valid(channel)) {
		return -EINVAL;
	}

	if (duration_ms < RP2350_RELAY_6CH_PULSE_MIN_MS ||
	    duration_ms > RP2350_RELAY_6CH_PULSE_MAX_MS) {
		return -EINVAL;
	}

	k_mutex_lock(&relay_lock, K_FOREVER);
	if ((relay_pulse_mask & BIT(channel)) != 0U) {
		k_mutex_unlock(&relay_lock);
		return -EBUSY;
	}

	ret = set_channel_locked(channel, true);
	if (ret == 0) {
		relay_pulse_mask |= BIT(channel);
		relay_pulses[channel].duration_ms = duration_ms;
		ret = k_work_schedule(&relay_pulses[channel].work, K_MSEC(duration_ms));
		if (ret < 0) {
			relay_pulse_mask &= (uint8_t)~BIT(channel);
			relay_pulses[channel].duration_ms = 0U;
			(void)set_channel_locked(channel, false);
		} else {
			state_mask = relay_state_mask;
			pulse_mask = relay_pulse_mask;
			snapshot_pulse_timing_locked(pulse_mask, pulse_timing);
			reboot_canceled = comm_loss_cancel_reboot_locked();
			health_set_comm_owner_timed_out(false);
			if (reboot_canceled) {
				health_set_comm_reboot_pending(false);
			}
			comm_loss_schedule_locked();
		}
	}
	k_mutex_unlock(&relay_lock);

	if (ret >= 0) {
		publish_indicator_state(state_mask, pulse_mask, pulse_timing);
	}

	return ret < 0 ? ret : 0;
}

void relay_comm_loss_renew(void)
{
	bool reboot_canceled;

	k_mutex_lock(&relay_lock, K_FOREVER);
	reboot_canceled = comm_loss_cancel_reboot_locked();
	health_set_comm_owner_timed_out(false);
	if (reboot_canceled) {
		health_set_comm_reboot_pending(false);
	}
	comm_loss_schedule_locked();
	k_mutex_unlock(&relay_lock);
	publish_health_snapshot();
}

const char *relay_comm_loss_policy(void)
{
	if (IS_ENABLED(CONFIG_RP2350_RELAY_6CH_COMM_LOSS_NO_TIMEOUT)) {
		return "no-comm-timeout";
	}

	if (IS_ENABLED(CONFIG_RP2350_RELAY_6CH_COMM_LOSS_ALWAYS_ON_OWNER)) {
		return "always-on-owner";
	}

	return "energized-only";
}

uint32_t relay_comm_loss_timeout_ms(void)
{
	if (!comm_loss_timeout_enabled()) {
		return 0U;
	}

	return CONFIG_RP2350_RELAY_6CH_COMM_LOSS_TIMEOUT_MS;
}

bool relay_comm_loss_reboot_on_timeout(void)
{
	return IS_ENABLED(CONFIG_RP2350_RELAY_6CH_COMM_LOSS_ALWAYS_ON_OWNER_REBOOT_ON_TIMEOUT);
}

uint32_t relay_comm_loss_reboot_delay_ms(void)
{
	if (!relay_comm_loss_reboot_on_timeout()) {
		return 0U;
	}

	return CONFIG_RP2350_RELAY_6CH_COMM_LOSS_REBOOT_DELAY_MS;
}

#ifdef CONFIG_ZTEST
bool relay_comm_loss_test_reboot_scheduled(void)
{
	return comm_loss_reboot_scheduled;
}

uint32_t relay_comm_loss_test_reboot_remaining_ms(void)
{
	if (!comm_loss_reboot_scheduled) {
		return 0U;
	}

	return k_ticks_to_ms_ceil32(k_work_delayable_remaining_get(&comm_loss_reboot_work));
}

bool relay_comm_loss_test_reboot_pending_indication_scheduled(void)
{
	return comm_loss_reboot_pending_indication_scheduled;
}

void relay_comm_loss_test_force_reboot_schedule_result(int result)
{
	comm_loss_test_reboot_schedule_result = result;
}

void relay_comm_loss_test_run_reboot_work(void)
{
	comm_loss_reboot_expired(&comm_loss_reboot_work.work);
	comm_loss_test_reboot_return = false;
}

void relay_comm_loss_test_force_reboot_return(bool enabled)
{
	comm_loss_test_reboot_return = enabled;
}

void relay_test_force_next_off_all_result(int result)
{
	test_next_off_all_result = result;
}
#endif
```
